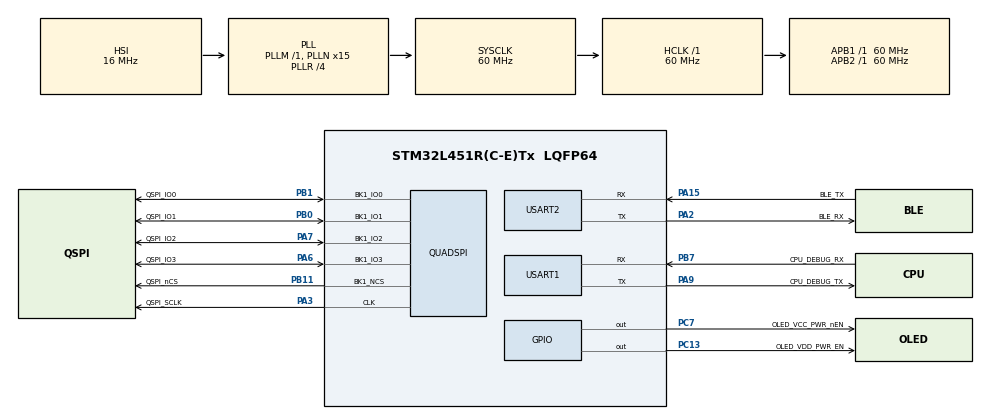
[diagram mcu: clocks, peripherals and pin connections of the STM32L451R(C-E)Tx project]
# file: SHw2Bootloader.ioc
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CRC.InputDataInversionMode=CRC_INPUTDATA_INVERSION_BYTE
CRC.OutputDataInversionMode=CRC_OUTPUTDATA_INVERSION_ENABLE
Dma.Request0=USART2_TX
Dma.Request1=USART2_RX
Dma.USART2_RX.1.Direction=DMA_PERIPH_TO_MEMORY
Dma.USART2_RX.1.Instance=DMA1_Channel6
Dma.USART2_RX.1.MemDataAlignment=DMA_MDATAALIGN_BYTE
Dma.USART2_RX.1.MemInc=DMA_MINC_ENABLE
Dma.USART2_RX.1.Mode=DMA_NORMAL
Dma.USART2_RX.1.PeriphDataAlignment=DMA_PDATAALIGN_BYTE
Dma.USART2_RX.1.PeriphInc=DMA_PINC_DISABLE
Dma.USART2_RX.1.Priority=DMA_PRIORITY_LOW
Dma.USART2_TX.0.Direction=DMA_MEMORY_TO_PERIPH
Dma.USART2_TX.0.Instance=DMA1_Channel7
Dma.USART2_TX.0.MemDataAlignment=DMA_MDATAALIGN_BYTE
Dma.USART2_TX.0.MemInc=DMA_MINC_ENABLE
Dma.USART2_TX.0.Mode=DMA_NORMAL
Dma.USART2_TX.0.PeriphDataAlignment=DMA_PDATAALIGN_BYTE
Dma.USART2_TX.0.PeriphInc=DMA_PINC_DISABLE
Dma.USART2_TX.0.Priority=DMA_PRIORITY_LOW
IWDG.Prescaler=IWDG_PRESCALER_128
Mcu.Family=STM32L4
Mcu.Name=STM32L451R(C-E)Tx
Mcu.Package=LQFP64
NVIC.DMA1_Channel6_IRQn=true\:0\:0\:true\:false\:true\:false\:true
NVIC.DMA1_Channel7_IRQn=true\:0\:0\:false\:false\:true\:false\:true
NVIC.PriorityGroup=NVIC_PRIORITYGROUP_4
NVIC.QUADSPI_IRQn=true\:5\:0\:true\:false\:true\:true\:true
NVIC.USART1_IRQn=true\:5\:0\:true\:false\:true\:true\:true
NVIC.USART2_IRQn=true\:0\:0\:false\:false\:true\:true\:true
PA13\ (JTMS/SWDIO).Mode=Serial_Wire
PA13\ (JTMS/SWDIO).Signal=SYS_JTMS-SWDIO
PA14\ (JTCK/SWCLK).Mode=Serial_Wire
PA14\ (JTCK/SWCLK).Signal=SYS_JTCK-SWCLK
PA15\ (JTDI).GPIO_Label=BLE_TX
PA15\ (JTDI).GPIO_PuPd=GPIO_PULLDOWN
PA15\ (JTDI).Mode=Asynchronous
PA15\ (JTDI).Signal=USART2_RX
PA2.GPIO_Label=BLE_RX
PA2.GPIO_PuPd=GPIO_PULLDOWN
PA2.Mode=Asynchronous
PA2.Signal=USART2_TX
PA3.GPIO_Label=QSPI_SCLK
PA3.Mode=Single Bank 1
PA3.Signal=QUADSPI_CLK
PA6.GPIO_Label=QSPI_IO3
PA6.Mode=Single Bank 1
PA6.Signal=QUADSPI_BK1_IO3
PA7.GPIO_Label=QSPI_IO2
PA7.Mode=Single Bank 1
PA7.Signal=QUADSPI_BK1_IO2
PA9.GPIO_Label=CPU_DEBUG_TX
PA9.GPIO_PuPd=GPIO_PULLDOWN
PA9.Mode=Asynchronous
PA9.Signal=USART1_TX
PB0.GPIO_Label=QSPI_IO1
PB0.Mode=Single Bank 1
PB0.Signal=QUADSPI_BK1_IO1
PB1.GPIO_Label=QSPI_IO0
PB1.Mode=Single Bank 1
PB1.Signal=QUADSPI_BK1_IO0
PB11.GPIO_Label=QSPI_nCS
PB11.Mode=Single Bank 1
PB11.Signal=QUADSPI_BK1_NCS
PB7.GPIO_Label=CPU_DEBUG_RX
PB7.GPIO_PuPd=GPIO_PULLDOWN
PB7.Mode=Asynchronous
PB7.Signal=USART1_RX
PC13.GPIO_Label=OLED_VDD_PWR_EN
PC13.GPIO_PuPd=GPIO_PULLDOWN
PC13.Signal=GPIO_Output
PC7.GPIO_Label=OLED_VCC_PWR_nEN
PC7.GPIO_PuPd=GPIO_PULLUP
PC7.Signal=GPIO_Output
ProjectManager.HeapSize=0x200
ProjectManager.StackSize=0x400
ProjectManager.TargetToolchain=SW4STM32
QUADSPI.ChipSelectHighTime=QSPI_CS_HIGH_TIME_2_CYCLE
QUADSPI.ClockMode=QSPI_CLOCK_MODE_0
QUADSPI.ClockPrescaler=2
QUADSPI.DualFlash=QSPI_DUALFLASH_DISABLE
QUADSPI.FifoThreshold=1
QUADSPI.FlashID=QSPI_FLASH_ID_1
QUADSPI.FlashSize=21
QUADSPI.SampleShifting=QSPI_SAMPLE_SHIFTING_NONE
RCC.ADCFreq_Value=64000000
RCC.AHBFreq_Value=60000000
RCC.APB1Freq_Value=60000000
RCC.APB1TimFreq_Value=60000000
RCC.APB2Freq_Value=60000000
RCC.APB2TimFreq_Value=60000000
RCC.CortexFreq_Value=60000000
RCC.HCLKFreq_Value=60000000
RCC.HSE_VALUE=8000000
RCC.HSI48_VALUE=48000000
RCC.HSI_VALUE=16000000
RCC.LSE_VALUE=32768
RCC.MSI_VALUE=4000000
RCC.PLLN=15
RCC.PLLR=RCC_PLLR_DIV4
RCC.PLLSourceVirtual=RCC_PLLSOURCE_HSI
RCC.SYSCLKFreq_VALUE=60000000
RCC.SYSCLKSource=RCC_SYSCLKSOURCE_PLLCLK
RCC.USART1CLockSelection=RCC_USART1CLKSOURCE_HSI
RCC.USART2CLockSelection=RCC_USART2CLKSOURCE_HSI
RCC.VCOOutputFreq_Value=240000000
USART1.VirtualMode-Asynchronous=VM_ASYNC
USART2.VirtualMode-Asynchronous=VM_ASYNC
VP_CRC_VS_CRC.Mode=CRC_Activate
VP_IWDG_VS_IWDG.Mode=IWDG_Activate
board=custom

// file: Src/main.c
/* USER CODE BEGIN Header */
/**
  ******************************************************************************
  * @file           : main.c
  * @brief          : Main program body
  ******************************************************************************
  * @attention
  *
  * <h2><center>&copy; Copyright (c) 2019 STMicroelectronics.
  * All rights reserved.</center></h2>
  *
  * This software component is licensed by ST under BSD 3-Clause license,
  * the "License"; You may not use this file except in compliance with the
  * License. You may obtain a copy of the License at:
  *                        opensource.org/licenses/BSD-3-Clause
  *
  ******************************************************************************
  */
/* USER CODE END Header */

#include "main.h"
#include "crc.h"
#include "dma.h"
#include "iwdg.h"
#include "quadspi.h"
#include "usart.h"
#include "gpio.h"

/* USER CODE BEGIN Includes */
#include "qspiflash.h"
#include "Boot.h"
#include "FlashMem.h"
#include "ExtFlash.h"
#include "log.h"
#include "mcb.h"
#include "BootLoaderVersion.h"
/* USER CODE END Includes */

void SystemClock_Config(void);

/* USER CODE BEGIN 0 */

void die()
{
    LOG ("All those moments will be lost in time, like tears in rain.\n");

    for (int i = 0; i < 5000000; i++)
        asm("nop");

    LOG("Time to die.\n");

#ifndef SPIN
    // clear the bootflags and halt the board
    BF->all = 0;
    BootResetBoard(1);
#else
    // Maybe we setup the watchdog to fire?
    // Maybe we just reboot?
    // Or we just hang until somebody toggles the reset with USB power
    for (;;) asm("nop");
#endif
}

/*! @brief  Trivial utility function to check that a buffer is full of 0xff
            (flash erase pattern)
*/
bool is_block_erased(uint8_t *buf, size_t len)
{
    while (len--) {
        if (*buf++ != 0xff) return false;
    }
    return true;
}

/*! @brief  Check to see if buf points at a firmware image

    The 64 bits of a FW image contain a stack pointer and an
    entry point (address to branch to on reset). This function
    simply validates that these are sane.
*/
bool CheckFirmwareMagic(void *buf)
{
    uint32_t        sp, ep;
    extern uint32_t _estack;

    if (buf == NULL) return false;

    sp = *((uint32_t *)buf);
    ep = *((uint32_t *)(buf + sizeof(uint32_t)));

    if ((uint32_t *)sp != &_estack || ep < UC_START_ADDR || ep > UC_END_ADDR) return false;

    return true;
}

/*! brief   Do all the checks and boot the FW

    This function only returns on failure.
*/
void doit(int idx)
{
    bool        bData = false;

    // Boot internal flash if we can
    if (CheckFirmwareMagic((void *)UC_START_ADDR)) {
        if (BootValidateCRC32(MCB_CRC(idx), MCB_LEN(idx), &bData)) {
            if (bData) {
                if (BootIsNormalBoot()) {
                    // if we are called with the backup IDX then this is last
                    // chance saloon... just boot
                    if (idx == MCB_EXT_BACKUP_IDX || bData) {
                        // but first... maybe start the watchdog
                        if (!BF->disableWatchdog) {
                                LOG("Starting watchdog...\n");
                                MX_IWDG_Init();
                        }
                        // never returns
                        BootJumpToUser();
                    } else {
                        LOG("BootIsNormalBoot returned bData false\n");
                    }
                } else {
                    LOG("BootIsNormalBoot returned false\n");
                }
            } else {
                ERR("crc check on internal flash failed\n");
            }
        } else {
            ERR("BootValidateCRC32 failed\n");
        }
    } else {
        ERR("CheckFirmwareMagic failed\n");
    }

    ERR("WTF!!\n");
}

// Lifted from the intertubes -- may not stay
// Useful for learning what the rcc module offers us
//
// Regular reboots are "software reset",
// Plugging in USB cable is "external reset pin reset"
// and watchdog is ... "independent watchdog reset"
#ifdef DEBUG
const char *reset_reason(eBootReason_t br)
{
    const char * reset_cause = "TBD";

    if (br & eLPWRRST) {
        reset_cause = "LOW_POWER_RESET";
    } else if (br & eWWDGRST) {
        reset_cause = "WINDOW_WATCHDOG_RESET";
    } else if (br & eIWDGRST) {
        reset_cause = "INDEPENDENT_WATCHDOG_RESET";
    } else if (br & eSFTRST) {
        reset_cause = "SOFTWARE_RESET"; // This reset is induced by calling the ARM CMSIS `NVIC_SystemReset()` function!
    } else if (br & ePINRST) {
        reset_cause = "EXTERNAL_RESET_PIN_RESET";
    } else if (br & eBORRST) {
        reset_cause = "BROWNOUT_RESET (BOR)";
    } else {
        reset_cause = "UNKNOWN";
    }

    return reset_cause;
}
#endif

/*! @brief Set __boot_reason__ with something for FW to pickup
*/
eBootReason_t getBootReason()
{
    eBootReason_t   ret = 0;
    if (__HAL_RCC_GET_FLAG(RCC_FLAG_LPWRRST)) {
        ret |= eLPWRRST;
    }
    if (__HAL_RCC_GET_FLAG(RCC_FLAG_WWDGRST)) {
        ret |= eWWDGRST;
    }
    if (__HAL_RCC_GET_FLAG(RCC_FLAG_IWDGRST)) {
        ret |= eIWDGRST;
    }
    if (__HAL_RCC_GET_FLAG(RCC_FLAG_SFTRST)) {
        ret |= eSFTRST;
    }
    if (__HAL_RCC_GET_FLAG(RCC_FLAG_PINRST)) {
        ret |= ePINRST;
    }
    if (__HAL_RCC_GET_FLAG(RCC_FLAG_BORRST)) {
        ret |= eBORRST;
    }
    if (ret == 0) {
        ret = eUNKNOWN;
    }

    return ret;
}

/* USER CODE END 0 */

int main(void)
{
    /* USER CODE BEGIN 1 */
    int         idx = MCB_INTERNAL_IDX;
#ifdef DEBUG
    const char  *reset_str;
#endif

    BootInit();

    /* USER CODE END 1 */

    /* MCU Configuration--------------------------------------------------------*/

    /* Reset of all peripherals, Initializes the Flash interface and the Systick. */
    HAL_Init();

    /* Configure the system clock */
    SystemClock_Config();

    /* USER CODE BEGIN SysInit */

    // Cache the boot reason now:
    //   - in case something changes it later
    //   - pass it up to firmware
    *BR = getBootReason();

#ifdef DEBUG
    // Get the reset reason for printing (after the UART is init'ed)
    reset_str = reset_reason(*BR);
#endif

    /* USER CODE END SysInit */

    /* Initialize all configured peripherals */
    MX_GPIO_Init();
    MX_DMA_Init();
    MX_CRC_Init();
    MX_QUADSPI_Init();
    MX_USART1_UART_Init();
    // MX_IWDG_Init();
    MX_USART2_UART_Init();
    /* USER CODE BEGIN 2 */

    // NB the MX_IWDG_Init() call above gets re-created by CubeMX -- it should be commented out

// #ifdef DEBUG
    // If we're running a debugger, we don't want the watchdog spoiling things
    __HAL_DBGMCU_FREEZE_IWDG();
// #endif

    LOG("SmartHalo 2 Bootloader: v");
    printBootLoaderVersion(&MCB->version);
    LOG("\nS/N: %s", MCB->serial);
    LOG("\n\n");

    // Clear all the reset flags else they may remain set during future resets
    __HAL_RCC_CLEAR_RESET_FLAGS();

    // Debug/diagnostic output
#ifdef DEBUG
    extern volatile uint32_t __boot_flags__;
#endif
    extern volatile uint32_t __update_crc__, __update_len__;

    LOG("__boot_flags__:      %08p  %08x\n", &__boot_flags__, __boot_flags__);
    LOG("__update_crc__:      %08p  %08x\n", &__update_crc__, __update_crc__);
    LOG("__update_len__:      %08p  %08x\n", &__update_len__, __update_len__);

    LOG("\nreset_str: %s\n", reset_str);

    ExtFlashInit();

    if (McbFirstboot()) {
        __update_crc__ = __update_len__ = 0;
        if (ExtFlashCopyGoldenFW()) {
            McbUpdateGoldenCRC();
            BF->firstBoot = 1;
            BootResetBoard(0);
        }
        die();
    }

    if (*BR & eSFTRST) {
        if (BF->normalReboot) {
            // normal
            LOG("Normal reboot\n");
            if (BF->halt) {
                LOG("but we were told to halt\n");
                BootResetBoard(1);
            }
        } else {
            // crashed
            LOG("Reboot after firmware crash!!!\n\n");
        }
    }

    // we are done deciding if we're booting normally
    // or if firmware has asked for a halt so...
    // unconditionally reset the halt and normalReboot flags
    BF->halt = BF->normalReboot = 0;

    // Maybe reinstall the Golden FW
    //  a) we were asked to
    //  b) we got a watchdog reset
    if (BF->forceGolden || ((*BR & eIWDGRST) && BF->ignoreWatchdog == 0)) {
        if (BF->forceGolden) {
            LOG("Force Golden flag set, ");
        } else {
            LOG("Watchdog reset, ");
        }
        BF->forceGolden = 0;
        LOG("re-installing Golden firmware\n\n");

        idx = MCB_EXT_BACKUP_IDX;
        if (ExtFlashInstallImage(EXT_FLASH_BACKUP_START_OFFSET)) {
            McbUpdateInteralMetadata(idx);
            doit(idx);
        } else {
            ERR("Reinstall of golden firmware failed!!\n\n");
            die();
        }
    }

    if ((*BR & eIWDGRST) && BF->ignoreWatchdog) {
        LOG("Ignored watchdog reset\n");
    }

    // Check for an update, if there is one, install it and boot
    if (__update_len__ > UC_LEN) {
        // this situation typically happens after the battery has
        // completely died and these values in RAM are completely
        // random -- so ignore and clear
        LOG("Update length is bogus... ignoring\n");
        __update_crc__ = __update_len__ = 0;
    } else if (__update_crc__ && __update_len__) {
        LOG("Received update firmware\n");

        idx = MCB_EXT_UPDATE_IDX;
        if (ExtFlashInstallImage(EXT_FLASH_UPDATE_START_OFFSET)) {
            McbUpdateMCBWithUpdate(__update_crc__, __update_len__);
            __update_crc__ = __update_len__ = 0;
            doit(idx);
        }

        // update failed for some reason, clear flags so we don't try again
        LOG("Failed\n");
        __update_crc__ = __update_len__ = 0;
    }

    // We get here if there was no update, attempt to boot internal flash
    // This is actually the normal case
    doit(MCB_INTERNAL_IDX);

    // This is now badness...
    // If we get this far then we have to grab an image from the external flash
    LOG("Not good. We should have booted by now...\n");
    /* USER CODE END 2 */

    /* Infinite loop */
    /* USER CODE BEGIN WHILE */

    LOG("Reinstalling update firmware\n");

    idx = MCB_EXT_UPDATE_IDX;
    if (ExtFlashInstallImage(EXT_FLASH_UPDATE_START_OFFSET)) {
        McbUpdateInteralMetadata(idx);
        doit(idx);
    }

    LOG("Failed\n");

    LOG("Copying Golden firmware\n");

    idx = MCB_EXT_BACKUP_IDX;
    if (ExtFlashInstallImage(EXT_FLASH_BACKUP_START_OFFSET)) {
        McbUpdateInteralMetadata(idx);
        doit(idx);
    }

    ERR("Failed to find anything to boot!\n");
    die();

    /* USER CODE END WHILE */

}

void SystemClock_Config(void)
{
    RCC_OscInitTypeDef RCC_OscInitStruct = {0};
    RCC_ClkInitTypeDef RCC_ClkInitStruct = {0};
    RCC_PeriphCLKInitTypeDef PeriphClkInit = {0};

    /** Initializes the CPU, AHB and APB busses clocks
    */
    RCC_OscInitStruct.OscillatorType = RCC_OSCILLATORTYPE_HSI|RCC_OSCILLATORTYPE_LSI;
    RCC_OscInitStruct.HSIState = RCC_HSI_ON;
    RCC_OscInitStruct.HSICalibrationValue = RCC_HSICALIBRATION_DEFAULT;
    RCC_OscInitStruct.LSIState = RCC_LSI_ON;
    RCC_OscInitStruct.PLL.PLLState = RCC_PLL_ON;
    RCC_OscInitStruct.PLL.PLLSource = RCC_PLLSOURCE_HSI;
    RCC_OscInitStruct.PLL.PLLM = 1;
    RCC_OscInitStruct.PLL.PLLN = 15;
    RCC_OscInitStruct.PLL.PLLP = RCC_PLLP_DIV7;
    RCC_OscInitStruct.PLL.PLLQ = RCC_PLLQ_DIV2;
    RCC_OscInitStruct.PLL.PLLR = RCC_PLLR_DIV4;
    if (HAL_RCC_OscConfig(&RCC_OscInitStruct) != HAL_OK) {
        Error_Handler();
    }
    /** Initializes the CPU, AHB and APB busses clocks
    */
    RCC_ClkInitStruct.ClockType = RCC_CLOCKTYPE_HCLK|RCC_CLOCKTYPE_SYSCLK
                                  |RCC_CLOCKTYPE_PCLK1|RCC_CLOCKTYPE_PCLK2;
    RCC_ClkInitStruct.SYSCLKSource = RCC_SYSCLKSOURCE_PLLCLK;
    RCC_ClkInitStruct.AHBCLKDivider = RCC_SYSCLK_DIV1;
    RCC_ClkInitStruct.APB1CLKDivider = RCC_HCLK_DIV1;
    RCC_ClkInitStruct.APB2CLKDivider = RCC_HCLK_DIV1;

    if (HAL_RCC_ClockConfig(&RCC_ClkInitStruct, FLASH_LATENCY_3) != HAL_OK) {
        Error_Handler();
    }
    PeriphClkInit.PeriphClockSelection = RCC_PERIPHCLK_USART1|RCC_PERIPHCLK_USART2;
    PeriphClkInit.Usart1ClockSelection = RCC_USART1CLKSOURCE_HSI;
    PeriphClkInit.Usart2ClockSelection = RCC_USART2CLKSOURCE_HSI;
    if (HAL_RCCEx_PeriphCLKConfig(&PeriphClkInit) != HAL_OK) {
        Error_Handler();
    }
    /** Configure the main internal regulator output voltage
    */
    if (HAL_PWREx_ControlVoltageScaling(PWR_REGULATOR_VOLTAGE_SCALE1) != HAL_OK) {
        Error_Handler();
    }
}

void Error_Handler(void)
{
}

/************************ (C) COPYRIGHT STMicroelectronics *****END OF FILE****/
